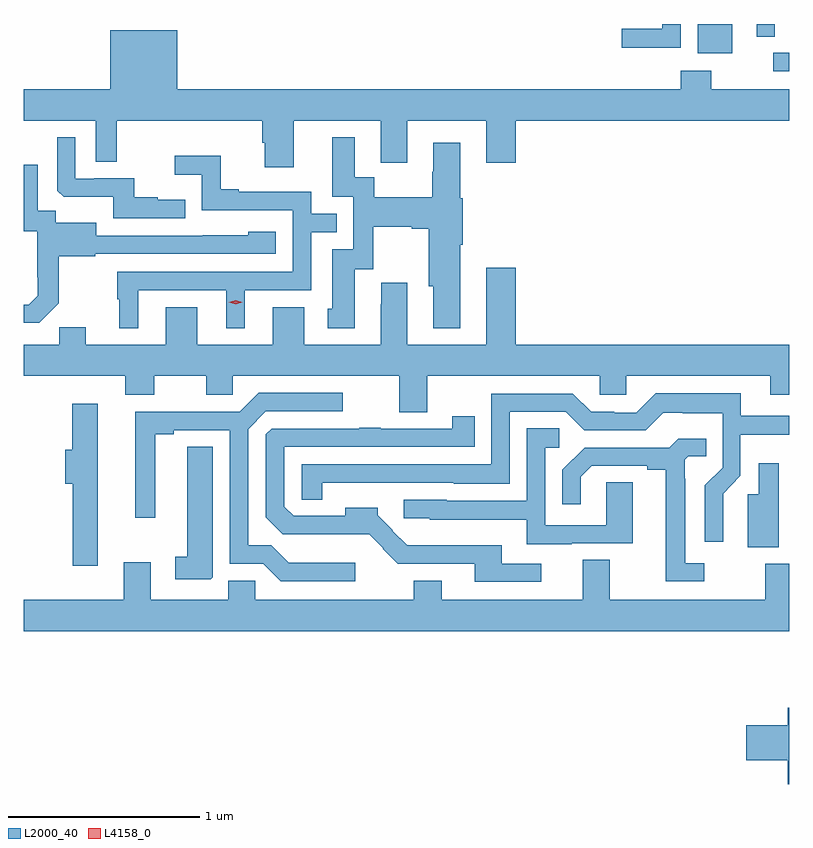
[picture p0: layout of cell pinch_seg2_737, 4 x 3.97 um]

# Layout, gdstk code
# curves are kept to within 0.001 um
import gdstk
lib = gdstk.Library(unit=1e-6, precision=1e-09)
def R(c, l, rs):  # rectangles x0, y0, x1, y1
    for r in rs: c.add(gdstk.rectangle(r[:2], r[2:], *l))
def P(c, l, *ps):  # polygons
    for p in ps: c.add(gdstk.Polygon(p, *l))
L2000_40 = (2000, 40)
L4158_0 = (4158, 0)

pinch_seg2_737 = lib.new_cell('pinch_seg2_737')
R(pinch_seg2_737, L2000_40, [(852.807,657.219,852.892,657.315), (852.413,657.314,852.592,657.466), (852.72,657.4,852.816,657.466)])
P(pinch_seg2_737, L2000_40, [(852.324,657.466),(852.228,657.466),(852.228,657.441),(852.015,657.441),(852.015,657.343),(852.324,657.343)],
  [(850.303,656.96),(850.757,656.96),(850.757,656.742),(850.897,656.742),(850.897,656.96),(851.309,656.96),(851.309,656.742),(851.462,656.742),(851.462,656.96),(852.892,656.96),(852.892,657.124),(852.483,657.124),(852.483,657.223),(852.323,657.223),(852.323,657.124),(849.694,657.124),(849.694,657.433),(849.344,657.433),(849.344,657.124),(848.892,657.124),(848.892,656.96),(849.27,656.96),(849.27,656.746),(849.379,656.746),(849.379,656.96),(850.139,656.96),(850.139,656.847),(850.151,656.847),(850.151,656.718),(850.303,656.718)],
  [(851.173,656.312),(851.186,656.312),(851.186,656.556),(851.173,656.556),(851.173,656.845),(851.033,656.845),(851.033,656.694),(851.026,656.694),(851.026,656.56),(850.723,656.56),(850.723,656.666),(850.621,656.666),(850.621,656.875),(850.505,656.875),(850.505,656.565),(850.614,656.565),(850.614,656.289),(850.505,656.289),(850.505,655.98),(850.481,655.98),(850.481,655.878),(850.621,655.878),(850.621,656.186),(850.719,656.186),(850.719,656.408),(850.919,656.408),(850.919,656.396),(851.008,656.396),(851.008,656.097),(851.033,656.097),(851.033,655.877),(851.173,655.877)],
  [(849.737,656.548),(849.593,656.548),(849.593,656.56),(849.47,656.56),(849.47,656.661),(849.262,656.661),(849.262,656.658),(849.162,656.658),(849.162,656.875),(849.069,656.875),(849.069,656.595),(849.101,656.564),(849.36,656.564),(849.36,656.451),(849.737,656.451)],
  [(849.49,656.076),(849.95,656.076),(849.95,655.877),(850.048,655.877),(850.048,656.076),(850.395,656.076),(850.395,656.379),(850.529,656.379),(850.529,656.475),(850.395,656.475),(850.395,656.589),(850.015,656.589),(850.015,656.602),(849.921,656.602),(849.921,656.777),(849.681,656.777),(849.681,656.678),(849.822,656.678),(849.822,656.493),(850.299,656.493),(850.299,656.172),(849.381,656.172),(849.381,656.028),(849.392,656.028),(849.392,655.877),(849.49,655.877)],
  [(849.075,656.007),(849.075,656.253),(849.267,656.253),(849.267,656.265),(850.21,656.265),(850.21,656.38),(850.065,656.38),(850.065,656.362),(849.271,656.361),(849.271,656.428),(849.06,656.428),(849.06,656.492),(848.965,656.492),(848.965,656.731),(848.892,656.731),(848.892,656.384),(848.964,656.384),(848.964,656.143),(848.966,656.143),(848.966,656.048),(848.919,656.001),(848.892,656.001),(848.892,655.907),(848.975,655.907)],
  [(851.001,655.628),(851.901,655.628),(851.901,655.53),(852.039,655.53),(852.039,655.628),(852.791,655.628),(852.791,655.529),(852.892,655.529),(852.892,655.792),(851.462,655.792),(851.462,656.194),(851.309,656.194),(851.309,655.792),(850.897,655.792),(850.897,656.116),(850.76,656.116),(850.76,656.003),(850.757,656.003),(850.757,655.792),(850.357,655.792),(850.357,655.987),(850.193,655.987),(850.193,655.792),(849.799,655.792),(849.799,655.987),(849.635,655.987),(849.635,655.792),(849.217,655.792),(849.217,655.883),(849.079,655.883),(849.079,655.792),(848.892,655.792),(848.892,655.628),(849.422,655.628),(849.422,655.529),(849.574,655.529),(849.574,655.628),(849.845,655.628),(849.845,655.53),(849.984,655.53),(849.984,655.628),(850.853,655.628),(850.853,655.438),(851.001,655.438)],
  [(850.624,654.652),(850.277,654.652),(850.186,654.743),(850.065,654.743),(850.065,655.35),(850.158,655.443),(850.558,655.443),(850.558,655.539),(850.121,655.539),(850.022,655.44),(849.476,655.44),(849.476,654.888),(849.58,654.888),(849.58,655.324),(849.676,655.324),(849.676,655.344),(849.969,655.344),(849.969,654.648),(850.143,654.648),(850.236,654.555),(850.624,654.555)],
  [(852.546,654.908),(852.545,655.014),(852.636,655.106),(852.636,655.322),(852.892,655.322),(852.892,655.419),(852.637,655.419),(852.637,655.537),(852.193,655.537),(852.093,655.437),(851.976,655.437),(851.976,655.44),(851.856,655.44),(851.76,655.536),(851.334,655.536),(851.334,655.167),(850.344,655.167),(850.344,654.982),(850.453,654.982),(850.453,655.07),(851.139,655.071),(851.139,655.064),(851.43,655.064),(851.43,655.44),(851.724,655.44),(851.82,655.344),(852.141,655.344),(852.234,655.437),(852.334,655.437),(852.334,655.433),(852.543,655.433),(852.543,655.149),(852.45,655.056),(852.45,654.762),(852.546,654.762)],
  [(849.28,655.483),(849.146,655.483),(849.146,655.242),(849.11,655.242),(849.11,655.064),(849.149,655.064),(849.149,654.636),(849.28,654.636)],
  [(851.596,654.648),(851.389,654.648),(851.389,654.745),(850.996,654.745),(850.996,654.743),(850.895,654.743),(850.818,654.819),(850.821,654.822),(850.742,654.901),(850.742,654.94),(850.571,654.94),(850.571,654.897),(850.302,654.897),(850.254,654.945),(850.254,655.257),(851.249,655.257),(851.249,655.417),(851.131,655.417),(851.131,655.353),(850.757,655.353),(850.757,655.358),(850.645,655.358),(850.645,655.353),(850.188,655.353),(850.158,655.323),(850.158,654.891),(850.247,654.802),(850.363,654.802),(850.363,654.8),(850.697,654.801),(850.771,654.727),(850.769,654.725),(850.845,654.648),(851.249,654.648),(851.249,654.552),(851.596,654.552)],
  [(851.755,654.753),(852.073,654.753),(852.073,655.073),(851.934,655.073),(851.934,654.849),(851.616,654.849),(851.616,655.254),(851.689,655.254),(851.689,655.355),(851.52,655.355),(851.52,654.975),(851.103,654.975),(851.103,654.981),(850.878,654.981),(850.878,654.885),(851.013,654.885),(851.013,654.878),(851.519,654.878),(851.519,654.749),(851.755,654.749)],
  [(852.448,654.651),(852.349,654.651),(852.349,655.091),(852.345,655.091),(852.345,655.191),(852.363,655.209),(852.458,655.209),(852.458,655.301),(852.312,655.301),(852.264,655.254),(851.822,655.254),(851.706,655.138),(851.706,654.957),(851.803,654.957),(851.803,655.101),(851.86,655.158),(852.149,655.158),(852.149,655.138),(852.245,655.138),(852.245,654.555),(852.448,654.555)],
  [(849.88,654.577),(849.88,655.259),(849.746,655.259),(849.746,654.683),(849.684,654.683),(849.684,654.567),(849.87,654.567)],
  [(852.835,655.171),(852.731,655.171),(852.731,655.011),(852.674,655.011),(852.674,654.733),(852.835,654.733)],
  [(852.892,654.648),(852.766,654.648),(852.766,654.46),(851.953,654.46),(851.953,654.668),(851.813,654.668),(851.813,654.46),(851.077,654.46),(851.077,654.559),(850.93,654.559),(850.93,654.46),(850.101,654.46),(850.101,654.558),(849.962,654.558),(849.962,654.46),(849.556,654.46),(849.556,654.655),(849.416,654.655),(849.416,654.46),(848.892,654.46),(848.892,654.296),(852.892,654.296)],
  [(852.892,653.894),(852.884,653.894),(852.884,653.804),(852.666,653.804),(852.666,653.621),(852.884,653.621),(852.884,653.497),(852.892,653.497)])
P(pinch_seg2_737, L4158_0, [(849.999,656.003),(849.963,656.013),(849.963,656.013),(849.963,656.013),(849.999,656.023),(850.035,656.013),(850.035,656.013),(850.035,656.013)])

lib.write_gds('pinch_seg2_737.gds')
